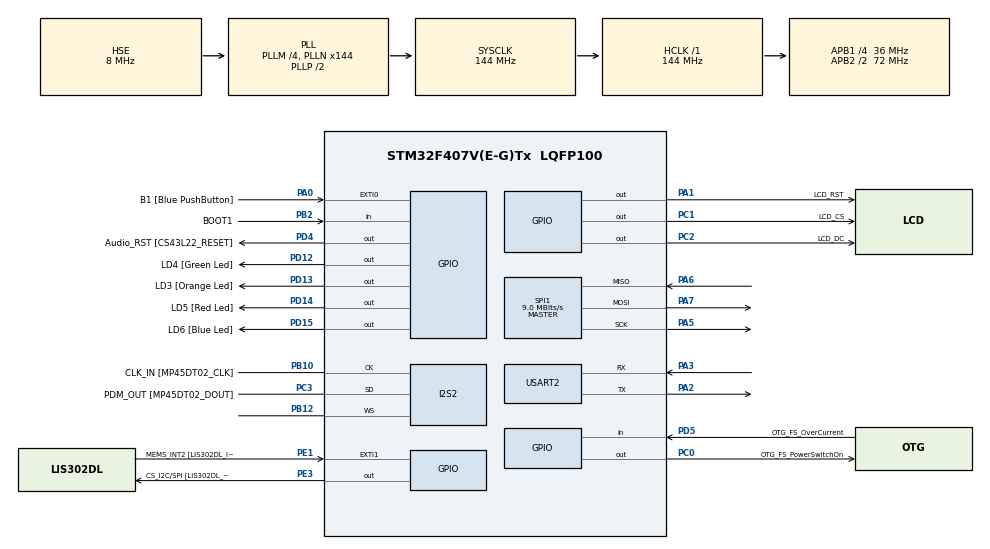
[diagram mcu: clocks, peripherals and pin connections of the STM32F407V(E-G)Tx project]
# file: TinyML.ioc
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Dma.Request0=SPI2_RX
Dma.Request1=SPI1_TX
Dma.SPI1_TX.1.Direction=DMA_MEMORY_TO_PERIPH
Dma.SPI1_TX.1.FIFOMode=DMA_FIFOMODE_DISABLE
Dma.SPI1_TX.1.Instance=DMA2_Stream3
Dma.SPI1_TX.1.MemDataAlignment=DMA_MDATAALIGN_BYTE
Dma.SPI1_TX.1.MemInc=DMA_MINC_ENABLE
Dma.SPI1_TX.1.Mode=DMA_NORMAL
Dma.SPI1_TX.1.PeriphDataAlignment=DMA_PDATAALIGN_BYTE
Dma.SPI1_TX.1.PeriphInc=DMA_PINC_DISABLE
Dma.SPI1_TX.1.Priority=DMA_PRIORITY_LOW
Dma.SPI2_RX.0.Direction=DMA_PERIPH_TO_MEMORY
Dma.SPI2_RX.0.FIFOMode=DMA_FIFOMODE_DISABLE
Dma.SPI2_RX.0.Instance=DMA1_Stream3
Dma.SPI2_RX.0.MemDataAlignment=DMA_MDATAALIGN_HALFWORD
Dma.SPI2_RX.0.MemInc=DMA_MINC_ENABLE
Dma.SPI2_RX.0.Mode=DMA_CIRCULAR
Dma.SPI2_RX.0.PeriphDataAlignment=DMA_PDATAALIGN_HALFWORD
Dma.SPI2_RX.0.PeriphInc=DMA_PINC_DISABLE
Dma.SPI2_RX.0.Priority=DMA_PRIORITY_LOW
EdgeImpulse.keyword_yes.1.0.1.MachineLearningCckeywordIiyesJjCore=true
I2S2.AudioFreq=I2S_AUDIOFREQ_32K
I2S2.DataFormat=I2S_DATAFORMAT_24B
I2S2.ErrorAudioFreq=1.72 %
I2S2.FullDuplexMode=I2S_FULLDUPLEXMODE_DISABLE
I2S2.Instance=SPI$Index
I2S2.Mode=I2S_MODE_MASTER_RX
I2S2.RealAudioFreq=32.552 KHz
I2S2.Standard=I2S_STANDARD_PHILIPS
I2S2.VirtualMode=I2S_MODE_MASTER
Mcu.Family=STM32F4
Mcu.Name=STM32F407V(E-G)Tx
Mcu.Package=LQFP100
NVIC.DMA1_Stream3_IRQn=true\:0\:0\:false\:false\:true\:false\:true
NVIC.DMA2_Stream3_IRQn=true\:0\:0\:false\:false\:true\:false\:true
NVIC.PriorityGroup=NVIC_PRIORITYGROUP_4
NVIC.SPI2_IRQn=true\:0\:0\:false\:false\:true\:true\:true
NVIC.TIM7_IRQn=true\:15\:0\:false\:false\:true\:false\:true
NVIC.TimeBase=TIM7_IRQn
NVIC.TimeBaseIP=TIM7
NVIC.USART2_IRQn=true\:0\:0\:false\:false\:true\:true\:true
PA0-WKUP.GPIO_Label=B1 [Blue PushButton]
PA0-WKUP.GPIO_ModeDefaultEXTI=GPIO_MODE_EVT_RISING
PA0-WKUP.GPIO_PuPd=GPIO_NOPULL
PA0-WKUP.Signal=GPXTI0
PA1.GPIO_Label=LCD_RST
PA1.Signal=GPIO_Output
PA13.GPIO_Label=SWDIO
PA13.Mode=Serial_Wire
PA13.Signal=SYS_JTMS-SWDIO
PA14.GPIO_Label=SWCLK
PA14.Mode=Serial_Wire
PA14.Signal=SYS_JTCK-SWCLK
PA2.Mode=Asynchronous
PA2.Signal=USART2_TX
PA3.Mode=Asynchronous
PA3.Signal=USART2_RX
PA5.Mode=Full_Duplex_Master
PA5.Signal=SPI1_SCK
PA6.Mode=Full_Duplex_Master
PA6.Signal=SPI1_MISO
PA7.Mode=Full_Duplex_Master
PA7.Signal=SPI1_MOSI
PB10.GPIO_Label=CLK_IN [MP45DT02_CLK]
PB10.GPIO_Mode=GPIO_MODE_AF_PP
PB10.GPIO_PuPd=GPIO_NOPULL
PB10.GPIO_Speed=GPIO_SPEED_FREQ_LOW
PB10.Mode=Half_Duplex_Master
PB10.Signal=I2S2_CK
PB12.Mode=Half_Duplex_Master
PB12.Signal=I2S2_WS
PB2.GPIO_Label=BOOT1
PB2.GPIO_Mode=GPIO_MODE_INPUT
PB2.GPIO_PuPd=GPIO_NOPULL
PB2.Signal=GPIO_Input
PC0.GPIO_Label=OTG_FS_PowerSwitchOn
PC0.GPIO_PuPd=GPIO_NOPULL
PC0.GPIO_Speed=GPIO_SPEED_FREQ_LOW
PC0.PinState=GPIO_PIN_SET
PC0.Signal=GPIO_Output
PC1.GPIO_Label=LCD_CS
PC1.Signal=GPIO_Output
PC14-OSC32_IN.GPIO_Label=PC14-OSC32_IN
PC14-OSC32_IN.Mode=LSE-External-Oscillator
PC14-OSC32_IN.Signal=RCC_OSC32_IN
PC15-OSC32_OUT.GPIO_Label=PC15-OSC32_OUT
PC15-OSC32_OUT.Mode=LSE-External-Oscillator
PC15-OSC32_OUT.Signal=RCC_OSC32_OUT
PC2.GPIO_Label=LCD_DC
PC2.Signal=GPIO_Output
PC3.GPIO_Label=PDM_OUT [MP45DT02_DOUT]
PC3.GPIO_Mode=GPIO_MODE_AF_PP
PC3.GPIO_PuPd=GPIO_NOPULL
PC3.GPIO_Speed=GPIO_SPEED_FREQ_LOW
PC3.Mode=Half_Duplex_Master
PC3.Signal=I2S2_SD
PD12.GPIO_Label=LD4 [Green Led]
PD12.GPIO_PuPd=GPIO_NOPULL
PD12.GPIO_Speed=GPIO_SPEED_FREQ_LOW
PD12.Signal=GPIO_Output
PD13.GPIO_Label=LD3 [Orange Led]
PD13.GPIO_PuPd=GPIO_NOPULL
PD13.GPIO_Speed=GPIO_SPEED_FREQ_LOW
PD13.Signal=GPIO_Output
PD14.GPIO_Label=LD5 [Red Led]
PD14.GPIO_PuPd=GPIO_NOPULL
PD14.GPIO_Speed=GPIO_SPEED_FREQ_LOW
PD14.Signal=GPIO_Output
PD15.GPIO_Label=LD6 [Blue Led]
PD15.GPIO_PuPd=GPIO_NOPULL
PD15.GPIO_Speed=GPIO_SPEED_FREQ_LOW
PD15.Signal=GPIO_Output
PD4.GPIO_Label=Audio_RST [CS43L22_RESET]
PD4.GPIO_PuPd=GPIO_NOPULL
PD4.GPIO_Speed=GPIO_SPEED_FREQ_LOW
PD4.Signal=GPIO_Output
PD5.GPIO_Label=OTG_FS_OverCurrent
PD5.GPIO_Mode=GPIO_MODE_INPUT
PD5.GPIO_PuPd=GPIO_NOPULL
PD5.Signal=GPIO_Input
PDM2PCM.CHANNEL1_bit_order=PDM_FILTER_BIT_ORDER_MSB
PDM2PCM.CHANNEL1_decimation_factor=PDM_FILTER_DEC_FACTOR_128
PDM2PCM.CHANNEL1_in_ptr_channels=1
PDM2PCM.CHANNEL1_mic_gain=0
PDM2PCM.CHANNEL1_out_ptr_channels=1
PE1.GPIO_Label=MEMS_INT2 [LIS302DL_INT2]
PE1.GPIO_ModeDefaultEXTI=GPIO_MODE_EVT_RISING
PE1.GPIO_PuPd=GPIO_NOPULL
PE1.Signal=GPXTI1
PE3.GPIO_Label=CS_I2C/SPI [LIS302DL_CS_I2C/SPI]
PE3.GPIO_PuPd=GPIO_NOPULL
PE3.GPIO_Speed=GPIO_SPEED_FREQ_LOW
PE3.Signal=GPIO_Output
PH0-OSC_IN.GPIO_Label=PH0-OSC_IN
PH0-OSC_IN.Mode=HSE-External-Oscillator
PH0-OSC_IN.Signal=RCC_OSC_IN
PH1-OSC_OUT.GPIO_Label=PH1-OSC_OUT
PH1-OSC_OUT.Mode=HSE-External-Oscillator
PH1-OSC_OUT.Signal=RCC_OSC_OUT
ProjectManager.HeapSize=0x200
ProjectManager.StackSize=0x400
ProjectManager.TargetToolchain=STM32CubeIDE
RCC.48MHZClocksFreq_Value=41142857.14285714
RCC.AHBFreq_Value=144000000
RCC.APB1CLKDivider=RCC_HCLK_DIV4
RCC.APB1Freq_Value=36000000
RCC.APB1TimFreq_Value=72000000
RCC.APB2CLKDivider=RCC_HCLK_DIV2
RCC.APB2Freq_Value=72000000
RCC.APB2TimFreq_Value=144000000
RCC.CortexFreq_Value=144000000
RCC.HCLKFreq_Value=144000000
RCC.HSE_VALUE=8000000
RCC.HSI_VALUE=16000000
RCC.PLLI2SN=50
RCC.PLLM=4
RCC.PLLN=144
RCC.PLLQ=7
RCC.PLLSourceVirtual=RCC_PLLSOURCE_HSE
RCC.SYSCLKFreq_VALUE=144000000
RCC.SYSCLKSource=RCC_SYSCLKSOURCE_PLLCLK
RCC.VCOOutputFreq_Value=288000000
SPI1.BaudRatePrescaler=SPI_BAUDRATEPRESCALER_8
SPI1.CalculateBaudRate=9.0 MBits/s
SPI1.Direction=SPI_DIRECTION_2LINES
SPI1.Mode=SPI_MODE_MASTER
SPI1.VirtualType=VM_MASTER
TIM14.Prescaler=8400 - 1
USART2.VirtualMode=VM_ASYNC
VP_CRC_VS_CRC.Mode=CRC_Activate
VP_EdgeImpulse.keyword_yes_VS_keywordIiyesJjMachineLearning_1.0.1_1.0.1.Mode=keywordIiyesJjMachineLearning
VP_PDM2PCM_VS_PDM2PCM.Mode=PDM2PCM_Channel
VP_SYS_VS_tim7.Mode=TIM7
VP_TIM14_VS_ClockSourceINT.Mode=Enable_Timer
board=STM32F407G-DISC1

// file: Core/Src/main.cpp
/* USER CODE BEGIN Header */
/**
  ******************************************************************************
  * @file           : main.c
  * @brief          : Main program body
  ******************************************************************************
  * @attention
  *
  * Copyright (c) 2022 STMicroelectronics.
  * All rights reserved.
  *
  * This software is licensed under terms that can be found in the LICENSE file
  * in the root directory of this software component.
  * If no LICENSE file comes with this software, it is provided AS-IS.
  *
  ******************************************************************************
  */
/* USER CODE END Header */
#include "main.h"
#include "pdm2pcm.h"

/* USER CODE BEGIN Includes */
#include "edge-impulse-sdk/classifier/ei_run_classifier.h"
#include "FreeRTOS.h"
#include"string.h"
#include <stdarg.h>
#include <stdio.h>
#include <stdlib.h>
#include <time.h>
#include "task.h"
#include "semphr.h"
extern"C"
{
	#include "ILI9341_STM32_Driver.h"
	#include "ILI9341_GFX.h"
}
/* USER CODE END Includes */

/* USER CODE BEGIN PTD */
/** Audio buffers, pointers and selectors */
typedef struct
{
  int16_t *buffers[2];
  uint8_t buf_select;
  volatile uint8_t buf_ready;
  volatile uint32_t buf_count;
  uint32_t n_samples;
} inference_t;
/* USER CODE END PTD */

/* USER CODE BEGIN PD */
#define PDM_BUF_LEN 256
/* USER CODE END PD */

CRC_HandleTypeDef hcrc;

I2S_HandleTypeDef hi2s2;
DMA_HandleTypeDef hdma_spi2_rx;

SPI_HandleTypeDef hspi1;
DMA_HandleTypeDef hdma_spi1_tx;

TIM_HandleTypeDef htim14;

UART_HandleTypeDef huart2;

/* USER CODE BEGIN PV */
// Settings
static bool debug_nn = false; // Set this to true to see e.g. features generated from the raw signal

// Globals
static inference_t inference;
static volatile bool record_ready = false;
uint16_t PDMBuf[PDM_BUF_LEN];
uint16_t PCMBuf[PDM_BUF_LEN/8];
uint8_t rxstate = 0;
SemaphoreHandle_t Key;
ei_impulse_result_t result = { 0 };
/* USER CODE END PV */

void SystemClock_Config(void);
static void MX_GPIO_Init(void);
static void MX_I2S2_Init(void);
static void MX_USART2_UART_Init(void);
static void MX_CRC_Init(void);
static void MX_DMA_Init(void);
static void MX_TIM14_Init(void);
static void MX_SPI1_Init(void);
/* USER CODE BEGIN PFP */
void LCD(void *pvParameters);
void Keyword_Spotting(void *pvParameters);
static int get_audio_signal_data(size_t offset, size_t length, float *out_ptr);
static void audio_buffer_inference_callback(uint32_t n_bytes, uint32_t offset);
bool ei_microphone_inference_record(void);
bool ei_microphone_inference_end(void);
void ei_printf(const char *format, ...);
void vprint(const char *fmt, va_list argp);
/* USER CODE END PFP */

int main(void)
{

  /* MCU Configuration--------------------------------------------------------*/

  /* Reset of all peripherals, Initializes the Flash interface and the Systick. */
  HAL_Init();

  /* Configure the system clock */
  SystemClock_Config();

  /* Initialize all configured peripherals */
  MX_GPIO_Init();
  MX_DMA_Init();
  MX_I2S2_Init();
  MX_USART2_UART_Init();
  MX_CRC_Init();
  MX_TIM14_Init();
  MX_PDM2PCM_Init();
  MX_SPI1_Init();
  /* USER CODE BEGIN 2 */
  Key=xSemaphoreCreateBinary();
  xSemaphoreGive( Key );
  TaskHandle_t HandleKWS =NULL;
  xTaskCreate(Keyword_Spotting, "Keyword_Spotting", 1024, NULL, 1,&HandleKWS);
  TaskHandle_t HandleLCD =NULL;
  xTaskCreate(LCD, "LCD",512, NULL, 1,&HandleLCD);
  vTaskStartScheduler();
  /* USER CODE END 2 */

  /* Infinite loop */
  while (1)
  {

  }
}

void SystemClock_Config(void)
{
  RCC_OscInitTypeDef RCC_OscInitStruct = {0};
  RCC_ClkInitTypeDef RCC_ClkInitStruct = {0};

  /** Configure the main internal regulator output voltage
  */
  __HAL_RCC_PWR_CLK_ENABLE();
  __HAL_PWR_VOLTAGESCALING_CONFIG(PWR_REGULATOR_VOLTAGE_SCALE1);
  /** Initializes the RCC Oscillators according to the specified parameters
  * in the RCC_OscInitTypeDef structure.
  */
  RCC_OscInitStruct.OscillatorType = RCC_OSCILLATORTYPE_HSE;
  RCC_OscInitStruct.HSEState = RCC_HSE_ON;
  RCC_OscInitStruct.PLL.PLLState = RCC_PLL_ON;
  RCC_OscInitStruct.PLL.PLLSource = RCC_PLLSOURCE_HSE;
  RCC_OscInitStruct.PLL.PLLM = 4;
  RCC_OscInitStruct.PLL.PLLN = 144;
  RCC_OscInitStruct.PLL.PLLP = RCC_PLLP_DIV2;
  RCC_OscInitStruct.PLL.PLLQ = 7;
  if (HAL_RCC_OscConfig(&RCC_OscInitStruct) != HAL_OK)
  {
    Error_Handler();
  }
  /** Initializes the CPU, AHB and APB buses clocks
  */
  RCC_ClkInitStruct.ClockType = RCC_CLOCKTYPE_HCLK|RCC_CLOCKTYPE_SYSCLK
                              |RCC_CLOCKTYPE_PCLK1|RCC_CLOCKTYPE_PCLK2;
  RCC_ClkInitStruct.SYSCLKSource = RCC_SYSCLKSOURCE_PLLCLK;
  RCC_ClkInitStruct.AHBCLKDivider = RCC_SYSCLK_DIV1;
  RCC_ClkInitStruct.APB1CLKDivider = RCC_HCLK_DIV4;
  RCC_ClkInitStruct.APB2CLKDivider = RCC_HCLK_DIV2;

  if (HAL_RCC_ClockConfig(&RCC_ClkInitStruct, FLASH_LATENCY_4) != HAL_OK)
  {
    Error_Handler();
  }
}

static void MX_CRC_Init(void)
{

  hcrc.Instance = CRC;
  if (HAL_CRC_Init(&hcrc) != HAL_OK)
  {
    Error_Handler();
  }
  __HAL_CRC_DR_RESET(&hcrc);

}

static void MX_I2S2_Init(void)
{

  hi2s2.Instance = SPI2;
  hi2s2.Init.Mode = I2S_MODE_MASTER_RX;
  hi2s2.Init.Standard = I2S_STANDARD_PHILIPS;
  hi2s2.Init.DataFormat = I2S_DATAFORMAT_24B;
  hi2s2.Init.MCLKOutput = I2S_MCLKOUTPUT_DISABLE;
  hi2s2.Init.AudioFreq = I2S_AUDIOFREQ_32K;
  hi2s2.Init.CPOL = I2S_CPOL_LOW;
  hi2s2.Init.ClockSource = I2S_CLOCK_PLL;
  hi2s2.Init.FullDuplexMode = I2S_FULLDUPLEXMODE_DISABLE;
  if (HAL_I2S_Init(&hi2s2) != HAL_OK)
  {
    Error_Handler();
  }

}

static void MX_SPI1_Init(void)
{

  /* SPI1 parameter configuration*/
  hspi1.Instance = SPI1;
  hspi1.Init.Mode = SPI_MODE_MASTER;
  hspi1.Init.Direction = SPI_DIRECTION_2LINES;
  hspi1.Init.DataSize = SPI_DATASIZE_8BIT;
  hspi1.Init.CLKPolarity = SPI_POLARITY_LOW;
  hspi1.Init.CLKPhase = SPI_PHASE_1EDGE;
  hspi1.Init.NSS = SPI_NSS_SOFT;
  hspi1.Init.BaudRatePrescaler = SPI_BAUDRATEPRESCALER_8;
  hspi1.Init.FirstBit = SPI_FIRSTBIT_MSB;
  hspi1.Init.TIMode = SPI_TIMODE_DISABLE;
  hspi1.Init.CRCCalculation = SPI_CRCCALCULATION_DISABLE;
  hspi1.Init.CRCPolynomial = 10;
  if (HAL_SPI_Init(&hspi1) != HAL_OK)
  {
    Error_Handler();
  }

}

static void MX_TIM14_Init(void)
{

  htim14.Instance = TIM14;
  htim14.Init.Prescaler = 8400 - 1;
  htim14.Init.CounterMode = TIM_COUNTERMODE_UP;
  htim14.Init.Period = 65535;
  htim14.Init.ClockDivision = TIM_CLOCKDIVISION_DIV1;
  htim14.Init.AutoReloadPreload = TIM_AUTORELOAD_PRELOAD_DISABLE;
  if (HAL_TIM_Base_Init(&htim14) != HAL_OK)
  {
    Error_Handler();
  }

}

static void MX_USART2_UART_Init(void)
{

  huart2.Instance = USART2;
  huart2.Init.BaudRate = 115200;
  huart2.Init.WordLength = UART_WORDLENGTH_8B;
  huart2.Init.StopBits = UART_STOPBITS_1;
  huart2.Init.Parity = UART_PARITY_NONE;
  huart2.Init.Mode = UART_MODE_TX_RX;
  huart2.Init.HwFlowCtl = UART_HWCONTROL_NONE;
  huart2.Init.OverSampling = UART_OVERSAMPLING_16;
  if (HAL_UART_Init(&huart2) != HAL_OK)
  {
    Error_Handler();
  }

}

static void MX_DMA_Init(void)
{

  /* DMA controller clock enable */
  __HAL_RCC_DMA1_CLK_ENABLE();
  __HAL_RCC_DMA2_CLK_ENABLE();

  /* DMA interrupt init */
  /* DMA1_Stream3_IRQn interrupt configuration */
  HAL_NVIC_SetPriority(DMA1_Stream3_IRQn, 0, 0);
  HAL_NVIC_EnableIRQ(DMA1_Stream3_IRQn);
  /* DMA2_Stream3_IRQn interrupt configuration */
  HAL_NVIC_SetPriority(DMA2_Stream3_IRQn, 0, 0);
  HAL_NVIC_EnableIRQ(DMA2_Stream3_IRQn);

}

static void MX_GPIO_Init(void)
{
  GPIO_InitTypeDef GPIO_InitStruct = {0};

  /* GPIO Ports Clock Enable */
  __HAL_RCC_GPIOE_CLK_ENABLE();
  __HAL_RCC_GPIOC_CLK_ENABLE();
  __HAL_RCC_GPIOH_CLK_ENABLE();
  __HAL_RCC_GPIOA_CLK_ENABLE();
  __HAL_RCC_GPIOB_CLK_ENABLE();
  __HAL_RCC_GPIOD_CLK_ENABLE();

  /*Configure GPIO pin Output Level */
  HAL_GPIO_WritePin(CS_I2C_SPI_GPIO_Port, CS_I2C_SPI_Pin, GPIO_PIN_RESET);

  /*Configure GPIO pin Output Level */
  HAL_GPIO_WritePin(OTG_FS_PowerSwitchOn_GPIO_Port, OTG_FS_PowerSwitchOn_Pin, GPIO_PIN_SET);

  /*Configure GPIO pin Output Level */
  HAL_GPIO_WritePin(GPIOC, LCD_CS_Pin|LCD_DC_Pin, GPIO_PIN_RESET);

  /*Configure GPIO pin Output Level */
  HAL_GPIO_WritePin(LCD_RST_GPIO_Port, LCD_RST_Pin, GPIO_PIN_RESET);

  /*Configure GPIO pin Output Level */
  HAL_GPIO_WritePin(GPIOD, LD4_Pin|LD3_Pin|LD5_Pin|LD6_Pin
                          |Audio_RST_Pin, GPIO_PIN_RESET);

  /*Configure GPIO pin : CS_I2C_SPI_Pin */
  GPIO_InitStruct.Pin = CS_I2C_SPI_Pin;
  GPIO_InitStruct.Mode = GPIO_MODE_OUTPUT_PP;
  GPIO_InitStruct.Pull = GPIO_NOPULL;
  GPIO_InitStruct.Speed = GPIO_SPEED_FREQ_LOW;
  HAL_GPIO_Init(CS_I2C_SPI_GPIO_Port, &GPIO_InitStruct);

  /*Configure GPIO pins : OTG_FS_PowerSwitchOn_Pin LCD_CS_Pin LCD_DC_Pin */
  GPIO_InitStruct.Pin = OTG_FS_PowerSwitchOn_Pin|LCD_CS_Pin|LCD_DC_Pin;
  GPIO_InitStruct.Mode = GPIO_MODE_OUTPUT_PP;
  GPIO_InitStruct.Pull = GPIO_NOPULL;
  GPIO_InitStruct.Speed = GPIO_SPEED_FREQ_LOW;
  HAL_GPIO_Init(GPIOC, &GPIO_InitStruct);

  /*Configure GPIO pin : B1_Pin */
  GPIO_InitStruct.Pin = B1_Pin;
  GPIO_InitStruct.Mode = GPIO_MODE_EVT_RISING;
  GPIO_InitStruct.Pull = GPIO_NOPULL;
  HAL_GPIO_Init(B1_GPIO_Port, &GPIO_InitStruct);

  /*Configure GPIO pin : LCD_RST_Pin */
  GPIO_InitStruct.Pin = LCD_RST_Pin;
  GPIO_InitStruct.Mode = GPIO_MODE_OUTPUT_PP;
  GPIO_InitStruct.Pull = GPIO_NOPULL;
  GPIO_InitStruct.Speed = GPIO_SPEED_FREQ_LOW;
  HAL_GPIO_Init(LCD_RST_GPIO_Port, &GPIO_InitStruct);

  /*Configure GPIO pin : BOOT1_Pin */
  GPIO_InitStruct.Pin = BOOT1_Pin;
  GPIO_InitStruct.Mode = GPIO_MODE_INPUT;
  GPIO_InitStruct.Pull = GPIO_NOPULL;
  HAL_GPIO_Init(BOOT1_GPIO_Port, &GPIO_InitStruct);

  /*Configure GPIO pins : LD4_Pin LD3_Pin LD5_Pin LD6_Pin
                           Audio_RST_Pin */
  GPIO_InitStruct.Pin = LD4_Pin|LD3_Pin|LD5_Pin|LD6_Pin
                          |Audio_RST_Pin;
  GPIO_InitStruct.Mode = GPIO_MODE_OUTPUT_PP;
  GPIO_InitStruct.Pull = GPIO_NOPULL;
  GPIO_InitStruct.Speed = GPIO_SPEED_FREQ_LOW;
  HAL_GPIO_Init(GPIOD, &GPIO_InitStruct);

  /*Configure GPIO pin : OTG_FS_OverCurrent_Pin */
  GPIO_InitStruct.Pin = OTG_FS_OverCurrent_Pin;
  GPIO_InitStruct.Mode = GPIO_MODE_INPUT;
  GPIO_InitStruct.Pull = GPIO_NOPULL;
  HAL_GPIO_Init(OTG_FS_OverCurrent_GPIO_Port, &GPIO_InitStruct);

  /*Configure GPIO pin : MEMS_INT2_Pin */
  GPIO_InitStruct.Pin = MEMS_INT2_Pin;
  GPIO_InitStruct.Mode = GPIO_MODE_EVT_RISING;
  GPIO_InitStruct.Pull = GPIO_NOPULL;
  HAL_GPIO_Init(MEMS_INT2_GPIO_Port, &GPIO_InitStruct);

}

/* USER CODE BEGIN 4 */
/**
 * @brief      Inferencing Task
 *
 * @return     void
 */
void LCD(void *pvParameters)
{
	ILI9341_Init();
	int oldx=0;
	int oldy=0;
	int randx=0;
	int randy=0;
	int min_x = 5;
	int max_x = 150;
	int min_y = 152;
	int max_y = 300;
	int time=0;
	static char BufferText[50];
	float max=0;
	size_t max_id;
	int print_results = -(EI_CLASSIFIER_SLICES_PER_MODEL_WINDOW);
	ILI9341_FillScreen(WHITE);
	srand(time);
	while(1)
	{
		   if( xSemaphoreTake(Key, portMAX_DELAY ) == pdTRUE)
		   {
//			ei_printf("LCD Take\n\r\r\n");
			if(++print_results >= (EI_CLASSIFIER_SLICES_PER_MODEL_WINDOW ))
			{
			  ILI9341_SetRotation(SCREEN_VERTICAL_2);
			  // Comment this section out if you don't want to see the raw scores
			  sprintf(BufferText,"Result:");
			  ILI9341_DrawText(BufferText, FONT3, 1, 10, BLACK, WHITE);
			  sprintf(BufferText,"(MFCC: %dms, NN: %dms)", result.timing.dsp, result.timing.classification);
			  ILI9341_DrawText(BufferText, FONT3, 1, 30, BLACK, WHITE);
			  for (size_t ix = 0; ix < EI_CLASSIFIER_LABEL_COUNT; ix++)
			  {
				  sprintf(BufferText," %s: %.5f     ", result.classification[ix].label, result.classification[ix].value*100);
				  ILI9341_DrawText(BufferText, FONT3, 1, 50+(ix*20), BLACK, WHITE);
			      if (result.classification[ix].value> max)
			      {
			           max = result.classification[ix].value;
			           max_id=ix;
			      }
			  }

//			  ILI9341_DrawHLine(0, 120, 240, NAVY);
			  sprintf(BufferText,"Predict: %s         ",result.classification[max_id].label);
			  ILI9341_DrawText(BufferText, FONT4,40, 130,RED,WHITE);
			  ILI9341_DrawHLine(0, 150, 240, NAVY);
			  if(max_id==(size_t)2)
			  {
				  sprintf(BufferText,"          ");
				  ILI9341_DrawText(BufferText, FONT4,oldx, oldy ,WHITE,WHITE);
				  for(int i=0;i<3;i++)
				  {
					  unsigned int color = rand() % (0xF81F - 0x0000 + 0x0001) + 0x0000;
					  ILI9341_DrawFilledCircle(120,245, 20+10*i, color);
				  }
				  ILI9341_DrawFilledCircle(120,245, 45, WHITE);
			  }
			  else
			  {
				  sprintf(BufferText,"          ");
				  ILI9341_DrawText(BufferText, FONT4,oldx, oldy ,WHITE,WHITE);
				  randx = rand() % (max_x - min_x + 1) + min_x;
				  randy = rand() % (max_y - min_y + 1) + min_y;
				  sprintf(BufferText,"Wake up ??");
				  unsigned int color = rand() % (0xF81F - 0x0000 + 0x0001) + 0x0000;
				  ILI9341_DrawText(BufferText, FONT4,randx, randy ,color,WHITE);
				  oldx=randx;
				  oldy=randy;
			  }
			  print_results = 0;
			  max=0;
			}
			   if( xSemaphoreGive( Key ) != pdTRUE )
			   {
					ei_printf("LCD Task Give Fail\r\n");
				   // We would not expect this call to fail because we must have
				   // obtained the semaphore to get here.
			   }
			   time++;
			   if(time==5000)
				   time=0;
				vTaskDelay(1);
		   }
	}
}
void Keyword_Spotting(void *pvParameters)
{
	//Declare
	HAL_StatusTypeDef hal_res;
//	int print_results = -(EI_CLASSIFIER_SLICES_PER_MODEL_WINDOW);
	ei_printf("Inferencing settings:\r\n");
	ei_printf("\tInterval: %.2f ms.\r\n", (float)EI_CLASSIFIER_INTERVAL_MS);
	ei_printf("\tFrame size: %d\r\n", EI_CLASSIFIER_DSP_INPUT_FRAME_SIZE);
	ei_printf("\tSample length: %d ms.\r\n", EI_CLASSIFIER_RAW_SAMPLE_COUNT / 16);
	ei_printf("\tNo. of classes: %d\r\n", sizeof(ei_classifier_inferencing_categories) / sizeof(ei_classifier_inferencing_categories[0]));
	// Create double buffer
	inference.buffers[0] = (int16_t *)pvPortMalloc(EI_CLASSIFIER_SLICE_SIZE * sizeof(int16_t));
	if(inference.buffers[0] == NULL)
	{
	  ei_printf("ERROR: Could not create buffer 1. Likely ran out of heap memory.\r\n");
	}
	  inference.buffers[1] = (int16_t *)pvPortMalloc(EI_CLASSIFIER_SLICE_SIZE * sizeof(int16_t));
	if(inference.buffers[1] == NULL)
	{
	  ei_printf("ERROR: Could not create buffer 2. Likely ran out of heap memory.\r\n");
	}
	  // Set inference parameters
	  inference.buf_select = 0;
	  inference.buf_count  = 0;
	  inference.n_samples  = EI_CLASSIFIER_SLICE_SIZE;
	  inference.buf_ready  = 0;

	  // Start receiving I2S audio data
	  hal_res =   HAL_I2S_Receive_DMA(&hi2s2, &PDMBuf[0],PDM_BUF_LEN/2);
	  if (hal_res != HAL_OK)
	  {
	    ei_printf("ERROR: Could not initialize I2S microphone.\r\n");
	  }
	  // Start doing inference
	  record_ready = true;

	  if (record_ready)
	  {
	    ei_printf("Listening!\r\n");
	  }
	  while(1)
	  {
		   if( xSemaphoreTake(Key, portMAX_DELAY ) == pdTRUE)
		   {
//		    ei_printf("Inference Take\n\r\r\n");
			bool m = ei_microphone_inference_record();
			if (!m)
			{
			  ei_printf("ERROR: Audio buffer overrun\r\n");
			  break;
			}
			// Do classification (i.e. the inference part)
			signal_t signal;
			signal.total_length = EI_CLASSIFIER_SLICE_SIZE;
			signal.get_data = &get_audio_signal_data;
			EI_IMPULSE_ERROR r = run_classifier_continuous(&signal, &result, debug_nn);
			if (r != EI_IMPULSE_OK)
			{
			ei_printf("ERROR: Failed to run classifier (%d)\r\n", r);
			break;
			}
			if (result.classification[2].value > 0.4)
			{
			  ei_printf("Yes!!!\r\n");
			  ei_printf("Confidence:%.5f\r\n",result.classification[(size_t)2].value);
			}
		   if( xSemaphoreGive( Key ) != pdTRUE )
		   {
				ei_printf("KeyWord Spotting Task Give Fail\r\n");
			   // We would not expect this call to fail because we must have
			   // obtained the semaphore to get here.
		   }
			vTaskDelay(1);
		   }

	  }
}
/**
 * @brief      Wait for a full buffer
 *
 * @return     In case of an buffer overrun return false
 */
bool ei_microphone_inference_record(void)
{
  bool ret = true;

  // Check to see if the buffer has overrun
  if (inference.buf_ready == 1) {
      ret = false;
  }

  // %%%TODO: make this non-blocking
  while (inference.buf_ready == 0)
  {
	    if (rxstate==1) {
	    	PDM_Filter(&PDMBuf[0],&PCMBuf[0], &PDM1_filter_handler);
	    	audio_buffer_inference_callback(PDM_BUF_LEN/8, 0);
	    	rxstate=0;

	    }

	    if (rxstate==2) {
	    	PDM_Filter(&PDMBuf[PDM_BUF_LEN/2],&PCMBuf[0], &PDM1_filter_handler);
	    	audio_buffer_inference_callback(PDM_BUF_LEN/8, 0);
	    	rxstate=0;
	    }
//    continue;
  }

  inference.buf_ready = 0;

  return ret;
}

/**
 * @brief      Stop audio sampling, release sampling buffers
 *
 * @return     false on error
 */
bool ei_microphone_inference_end(void)
{
  // Stop I2S
  HAL_I2S_DMAStop(&hi2s2);

  // Free up double buffer
  record_ready = false;
  free(inference.buffers[0]);
  free(inference.buffers[1]);

  return true;
}

/**
 * @brief      Copy sample data in selected buf and signal ready when buffer is full
 *
 * @param[in]  n_bytes  Number of bytes to copy
 * @param[in]  offset   offset in sampleBuffer
 */
static void audio_buffer_inference_callback(uint32_t n_samples, uint32_t offset)
{
  // Copy samples from I2S buffer to inference buffer. Convert 24-bit, 32kHz
  // samples to 16-bit, 16kHz
	  for (uint32_t i = 0; i < n_samples; i++) {
	    inference.buffers[inference.buf_select][inference.buf_count++] =
	        (int16_t)(PCMBuf[i]);
      if (inference.buf_count >= inference.n_samples) {
      inference.buf_select ^= 1;
      inference.buf_count = 0;
      inference.buf_ready = 1;
    }
  }
//ei_printf("Inference Buffer:%d/%d                  \r",inference.buf_count,inference.n_samples);
}

/**
 * Get raw audio signal data
 */
static int get_audio_signal_data(size_t offset, size_t length, float *out_ptr)
{
  numpy::int16_to_float(&inference.buffers[inference.buf_select ^ 1][offset], out_ptr, length);

  return 0;
}

/**
 * Low-level print function that uses UART to print status messages.
 */
void vprint(const char *fmt, va_list argp)
{
  char string[200];
  if(0 < vsprintf(string, fmt, argp)) // build string
  {
      HAL_UART_Transmit(&huart2, (uint8_t*)string, strlen(string), 0xffffff);
  }
}

/**
 * Wrapper for vprint. Use this like you would printf to print messages to the serial console.
 */
void ei_printf(const char *format, ...)
{
  va_list myargs;
  va_start(myargs, format);
  vprint(format, myargs);
  va_end(myargs);
}

/**
 * Called when the first half of the receive buffer is full
 */
void HAL_I2S_RxHalfCpltCallback(I2S_HandleTypeDef *hi2s)
{
	rxstate = 1;
//  if (record_ready == true)
//  {
////	ei_printf("First_half FULL\r\n");
//    audio_buffer_inference_callback(I2S_BUF_LEN / 2, 0);
//  }
}

/**
 * Called when the second half of the receive buffer is full
 */
void HAL_I2S_RxCpltCallback(I2S_HandleTypeDef *hi2s)
{
	rxstate = 2;
//HAL_StatusTypeDef hal_res;
//  if (record_ready == true)
//  {
////	ei_printf("Second_half FULL\r\n");
//    audio_buffer_inference_callback(I2S_BUF_LEN / 2, I2S_BUF_LEN / 2);
//    HAL_I2S_DMAPause(&hi2s2);
//    HAL_I2S_DMAResume(&hi2s2);
////    hal_res =  HAL_I2S_Receive_DMA(&hi2s2, i2s_buf, (I2S_BUF_LEN / ELEMENTS_PER_WORD));
////    if (hal_res != HAL_OK)
////    {
////      ei_printf("ERROR: Could not initialize I2S microphone 11.\r\n");
////    }
//  }
}

/* USER CODE END 4 */

void HAL_TIM_PeriodElapsedCallback(TIM_HandleTypeDef *htim)
{
  if (htim->Instance == TIM7) {
    HAL_IncTick();
  }
}

void Error_Handler(void)
{
  __disable_irq();
  while (1)
  {
  }
}
